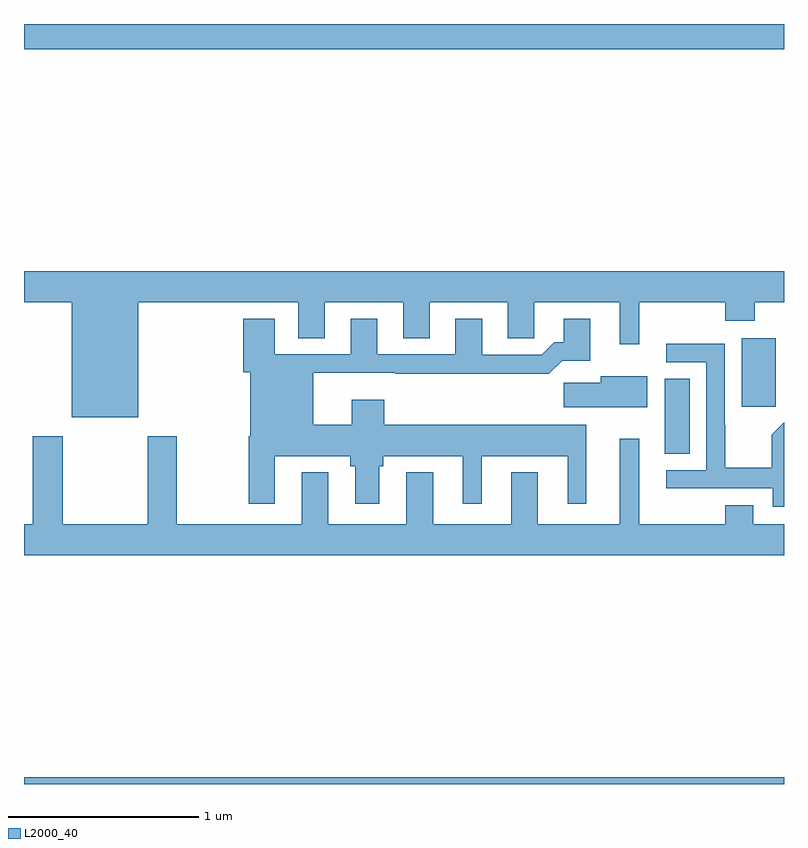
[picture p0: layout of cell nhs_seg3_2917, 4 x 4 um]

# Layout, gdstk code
import gdstk
lib = gdstk.Library(unit=1e-6, precision=1e-09)
def R(c, l, rs):  # rectangles x0, y0, x1, y1
    for r in rs: c.add(gdstk.rectangle(r[:2], r[2:], *l))
def P(c, l, *ps):  # polygons
    for p in ps: c.add(gdstk.Polygon(p, *l))
L2000_40 = (2000, 40)

nhs_seg3_2917 = lib.new_cell('nhs_seg3_2917')
R(nhs_seg3_2917, L2000_40, [(263,678.4,267,678.436), (266.372,680.137,266.503,680.534), (266.777,680.385,266.956,680.746), (263,682.268,267,682.4)])
P(nhs_seg3_2917, L2000_40, [(263.602,680.936),(264.443,680.936),(264.443,680.746),(264.583,680.746),(264.583,680.936),(264.995,680.936),(264.995,680.746),(265.135,680.746),(265.135,680.936),(265.547,680.936),(265.547,680.746),(265.686,680.746),(265.686,680.936),(266.135,680.936),(266.135,680.715),(266.239,680.715),(266.239,680.936),(266.692,680.936),(266.692,680.837),(266.847,680.837),(266.847,680.936),(267,680.936),(267,681.1),(263,681.1),(263,680.936),(263.252,680.936),(263.252,680.33),(263.602,680.33)],
  [(264.319,680.126),(264.718,680.126),(264.718,680.073),(264.743,680.073),(264.743,679.875),(264.871,679.875),(264.871,680.073),(264.891,680.073),(264.891,680.126),(265.31,680.126),(265.31,679.875),(265.408,679.875),(265.408,680.126),(265.862,680.126),(265.862,679.875),(265.96,679.875),(265.96,680.29),(264.896,680.29),(264.896,680.422),(264.725,680.422),(264.725,680.29),(264.523,680.29),(264.523,680.564),(264.955,680.564),(264.955,680.56),(265.507,680.56),(265.507,680.558),(265.763,680.558),(265.832,680.627),(265.981,680.627),(265.981,680.848),(265.841,680.848),(265.841,680.725),(265.792,680.725),(265.725,680.658),(265.411,680.658),(265.411,680.848),(265.271,680.848),(265.271,680.661),(264.859,680.661),(264.859,680.848),(264.719,680.848),(264.719,680.661),(264.319,680.661),(264.319,680.848),(264.155,680.848),(264.155,680.568),(264.191,680.568),(264.191,680.23),(264.184,680.23),(264.184,679.875),(264.319,679.875)],
  [(267,680.304),(266.935,680.239),(266.935,680.065),(266.691,680.065),(266.691,680.288),(266.688,680.288),(266.688,680.718),(266.379,680.718),(266.379,680.619),(266.592,680.619),(266.592,680.052),(266.379,680.052),(266.379,679.956),(266.94,679.956),(266.94,679.859),(267,679.859)],
  [(266.281,680.545),(266.036,680.545),(266.036,680.513),(265.842,680.513),(265.842,680.384),(266.281,680.384)],
  [(267,679.768),(266.839,679.768),(266.839,679.867),(266.692,679.867),(266.692,679.768),(266.239,679.768),(266.239,680.218),(266.135,680.218),(266.135,679.768),(265.705,679.768),(265.705,680.041),(265.565,680.041),(265.565,679.768),(265.153,679.768),(265.153,680.041),(265.013,680.041),(265.013,679.768),(264.601,679.768),(264.601,680.041),(264.461,680.041),(264.461,679.768),(263.805,679.768),(263.805,680.23),(263.65,680.23),(263.65,679.768),(263.205,679.768),(263.205,680.23),(263.045,680.23),(263.045,679.768),(263,679.768),(263,679.604),(267,679.604)])

lib.write_gds('nhs_seg3_2917.gds')
